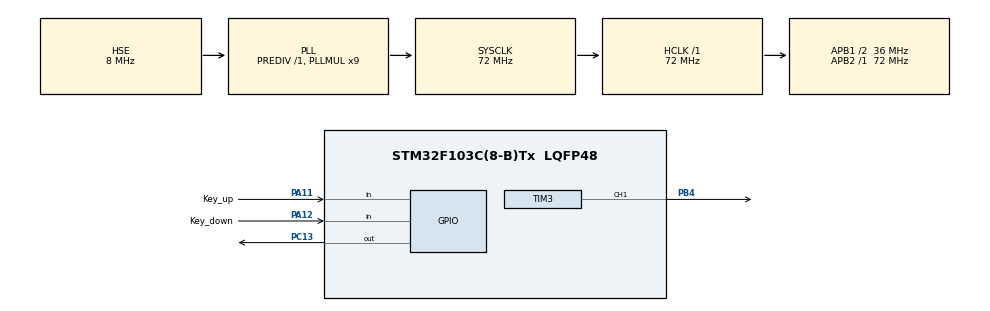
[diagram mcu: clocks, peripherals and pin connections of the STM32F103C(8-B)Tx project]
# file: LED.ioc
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Mcu.Family=STM32F1
Mcu.Name=STM32F103C(8-B)Tx
Mcu.Package=LQFP48
NVIC.PriorityGroup=NVIC_PRIORITYGROUP_4
PA11.GPIO_Label=Key_up
PA11.GPIO_PuPd=GPIO_PULLUP
PA11.Signal=GPIO_Input
PA12.GPIO_Label=Key_down
PA12.GPIO_PuPd=GPIO_PULLUP
PA12.Signal=GPIO_Input
PA13.Mode=Serial_Wire
PA13.Signal=SYS_JTMS-SWDIO
PA14.Mode=Serial_Wire
PA14.Signal=SYS_JTCK-SWCLK
PB4.GPIO_ModeDefaultPP=GPIO_MODE_AF_OD
PB4.GPIO_Speed=GPIO_SPEED_FREQ_HIGH
PB4.Signal=S_TIM3_CH1
PC13-TAMPER-RTC.GPIO_Speed=GPIO_SPEED_FREQ_HIGH
PC13-TAMPER-RTC.Signal=GPIO_Output
PC14-OSC32_IN.Mode=LSE-External-Oscillator
PC14-OSC32_IN.Signal=RCC_OSC32_IN
PC15-OSC32_OUT.Mode=LSE-External-Oscillator
PC15-OSC32_OUT.Signal=RCC_OSC32_OUT
PD0-OSC_IN.Mode=HSE-External-Oscillator
PD0-OSC_IN.Signal=RCC_OSC_IN
PD1-OSC_OUT.Mode=HSE-External-Oscillator
PD1-OSC_OUT.Signal=RCC_OSC_OUT
ProjectManager.HeapSize=0x200
ProjectManager.StackSize=0x400
ProjectManager.TargetToolchain=CMake
RCC.AHBFreq_Value=72000000
RCC.APB1CLKDivider=RCC_HCLK_DIV2
RCC.APB1Freq_Value=36000000
RCC.APB1TimFreq_Value=72000000
RCC.APB2Freq_Value=72000000
RCC.APB2TimFreq_Value=72000000
RCC.HCLKFreq_Value=72000000
RCC.PLLMUL=RCC_PLL_MUL9
RCC.PLLSourceVirtual=RCC_PLLSOURCE_HSE
RCC.SYSCLKFreq_VALUE=72000000
RCC.SYSCLKSource=RCC_SYSCLKSOURCE_PLLCLK
RCC.USBFreq_Value=72000000
SH.S_TIM3_CH1.0=TIM3_CH1,PWM Generation1 CH1
TIM3.Channel-PWM\ Generation1\ CH1=TIM_CHANNEL_1
TIM3.Period=90-1
VP_TIM3_VS_ClockSourceINT.Mode=Internal
board=custom

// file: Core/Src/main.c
/* USER CODE BEGIN Header */
/**
  ******************************************************************************
  * @file           : main.c
  * @brief          : Main program body
  ******************************************************************************
  * @attention
  *
  * Copyright (c) 2025 STMicroelectronics.
  * All rights reserved.
  *
  * This software is licensed under terms that can be found in the LICENSE file
  * in the root directory of this software component.
  * If no LICENSE file comes with this software, it is provided AS-IS.
  *
  ******************************************************************************
  */
/* USER CODE END Header */
#include "main.h"
#include "dma.h"
#include "stm32f1xx_hal.h"
#include "stm32f1xx_hal_gpio.h"
#include "tim.h"
#include "gpio.h"

/* USER CODE BEGIN Includes */
#include "WS2812.h"
#include <stdint.h>
/* USER CODE END Includes */

void SystemClock_Config(void);

int main(void)
{

  /* MCU Configuration--------------------------------------------------------*/

  /* Reset of all peripherals, Initializes the Flash interface and the Systick. */
  HAL_Init();

  /* Configure the system clock */
  SystemClock_Config();

  /* Initialize all configured peripherals */
  MX_GPIO_Init();
  MX_DMA_Init();
  MX_TIM3_Init();
  /* Ensure WS2812 initialized after TIM/DMA/GPIO are ready */
  ws2812_Init();
  /* USER CODE BEGIN 2 */

  /* Application state */
  float white_brightness = 0.0f; /* 0.0 .. 1.0 */
  uint8_t mode_flag = 0;         /* 0 = white, 1 = rainbow, 2 = running */

  /* Button debounce / repeat state */
  uint8_t up_held = 0, down_held = 0;
  uint32_t last_debounce_up = 0, last_debounce_down = 0;
  uint32_t last_repeat_up = 0, last_repeat_down = 0;
  uint8_t sim_pressed = 0;

  /* Double click detection for Key_down */
  uint32_t last_down_release = 0;
  uint8_t first_click_detected = 0;

  /* Double click detection for Key_up */
  uint32_t last_up_release = 0;
  uint8_t first_up_click_detected = 0;

  const uint32_t DOUBLE_CLICK_TIME = 300; /* Max interval for double click */

  /* Rainbow incremental state */
  int rainbow_phase = 0;
  uint32_t last_rainbow_tick = HAL_GetTick();
  const uint32_t RAINBOW_PERIOD_MS = 50; /* frame period for rainbow */
  uint32_t running_light_speed = 150;    /* frame period for running light (slower) */
  const uint32_t DEBOUNCE_MS = 50;
  const uint32_t REPEAT_INITIAL_MS = 300;
  const uint32_t REPEAT_INTERVAL_MS = 100;

  /* USER CODE END 2 */

  /* Infinite loop */
  /* USER CODE BEGIN WHILE */
  while (1)
  {
    uint32_t now = HAL_GetTick();
    uint8_t up = HAL_GPIO_ReadPin(Key_up_GPIO_Port, Key_up_Pin);
    uint8_t down = HAL_GPIO_ReadPin(Key_down_GPIO_Port, Key_down_Pin);

    /* Simultaneous press: toggle mode on press (active low) */
    if (up == GPIO_PIN_RESET && down == GPIO_PIN_RESET)
    {
      if (!sim_pressed)
      {
        sim_pressed = 1;
        mode_flag = (mode_flag + 1) % 3;
        /* immediate refresh on mode switch */
        if (mode_flag == 0)
        {
          ws2812_set_all_white(white_brightness);
        }
        else
        {
          rainbow_phase = 0;
        }
        /* Reset double click states to prevent conflict */
        first_up_click_detected = 0;
        first_click_detected = 0;
      }
    }
    else
    {
      sim_pressed = 0;

      /* UP button handling (active low) */
      if (up == GPIO_PIN_RESET)
      {
        if (!up_held && (now - last_debounce_up) > DEBOUNCE_MS)
        {
          up_held = 1;
          last_repeat_up = now;

          /* Check for double click */
          if (first_up_click_detected && (now - last_up_release) <= DOUBLE_CLICK_TIME)
          {
            /* Double click detected - Max Brightness */
            white_brightness = 1.0f;
            if (mode_flag == 0) ws2812_set_all_white(white_brightness);
            first_up_click_detected = 0; /* Reset double click state */
          }
          else
          {
            /* Normal single click action */
            white_brightness += 0.05f;
            if (white_brightness > 1.0f) white_brightness = 1.0f;
            if (mode_flag == 0) ws2812_set_all_white(white_brightness);
          }
        }
        else if (up_held && (now - last_repeat_up) > REPEAT_INITIAL_MS)
        {
          /* auto-repeat while held */
          first_up_click_detected = 0; /* Cancel double click if held */
          white_brightness += 0.05f;
          if (white_brightness > 1.0f) white_brightness = 1.0f;
          if (mode_flag == 0) ws2812_set_all_white(white_brightness);
          last_repeat_up = now - (REPEAT_INITIAL_MS - REPEAT_INTERVAL_MS);
        }
      }
      else
      {
        if (up_held)
        {
          /* Button was just released */
          if (!first_up_click_detected)
          {
            first_up_click_detected = 1;
            last_up_release = now;
          }
        }

        /* Timeout check for double click */
        if (first_up_click_detected && (now - last_up_release) > DOUBLE_CLICK_TIME)
        {
          first_up_click_detected = 0;
        }

        up_held = 0;
        last_debounce_up = now;
      }

      /* DOWN button handling (active low) */
      if (down == GPIO_PIN_RESET)
      {
        if (!down_held && (now - last_debounce_down) > DEBOUNCE_MS)
        {
          down_held = 1;
          last_repeat_down = now;

          /* Check for double click */
          if (first_click_detected && (now - last_down_release) <= DOUBLE_CLICK_TIME)
          {
            /* Double click detected - turn off all LEDs */
            white_brightness = 0.0f;
            if (mode_flag == 0)
            {
              ws2812_set_all_white(white_brightness);
            }
            else
            {
              /* Turn off all LEDs in rainbow/running mode */
              for (uint8_t i = 0; i < WS2812_NUM; i++)
              {
                ws2812_set_rgb(i, 0, 0, 0);
              }
              ws2812_update();
              ws2812_wait_dma(100);
            }
            first_click_detected = 0; /* Reset double click state */
          }
          else
          {
            /* Normal single click action */
            white_brightness -= 0.05f;
            if (white_brightness < 0.0f) white_brightness = 0.0f;
            if (mode_flag == 0) ws2812_set_all_white(white_brightness);
          }
        }
        else if (down_held && (now - last_repeat_down) > REPEAT_INITIAL_MS)
        {
          /* Reset double click detection when button is held */
          first_click_detected = 0;

          white_brightness -= 0.05f;
          if (white_brightness < 0.0f) white_brightness = 0.0f;
          if (mode_flag == 0) ws2812_set_all_white(white_brightness);
          last_repeat_down = now - (REPEAT_INITIAL_MS - REPEAT_INTERVAL_MS);
        }
      }
      else
      {
        if (down_held)
        {
          /* Button was just released */
          if (!first_click_detected)
          {
            first_click_detected = 1;
            last_down_release = now;
          }
        }

        /* Timeout check */
        if (first_click_detected && (now - last_down_release) > DOUBLE_CLICK_TIME)
        {
          first_click_detected = 0;
        }

        down_held = 0;
        last_debounce_down = now;
      }
    }

    /* Rainbow incremental update (non-blocking) */
    if (mode_flag == 1)
    {
      if ((now - last_rainbow_tick) >= RAINBOW_PERIOD_MS)
      {
        float frequency = 0.1f;
        int center = 128;
        int width = 127;
        for (uint8_t led_id = 0; led_id < WS2812_NUM; led_id++)
        {
          uint32_t color = rainbow_color(frequency, rainbow_phase + led_id * 2, center, width);
          uint8_t r, g, b;
          color_to_rgb(color, &r, &g, &b);
          /* apply brightness scaling */
          r = (uint8_t)((float)r * white_brightness);
          g = (uint8_t)((float)g * white_brightness);
          b = (uint8_t)((float)b * white_brightness);
          ws2812_set_rgb(led_id, r, g, b);
        }
        ws2812_update();
        ws2812_wait_dma(100);
        rainbow_phase++;
        last_rainbow_tick = now;
      }
    }
    else if (mode_flag == 2)
    {
      if ((now - last_rainbow_tick) >= running_light_speed)
      {
        ws2812_running_rainbow_cycle(rainbow_phase, white_brightness);
        rainbow_phase++;
        last_rainbow_tick = now;
      }
    }

    /* Small sleep to avoid busy loop */
    HAL_Delay(10);
  }
  /* USER CODE END 3 */
}

void SystemClock_Config(void)
{
  RCC_OscInitTypeDef RCC_OscInitStruct = {0};
  RCC_ClkInitTypeDef RCC_ClkInitStruct = {0};

  /** Initializes the RCC Oscillators according to the specified parameters
  * in the RCC_OscInitTypeDef structure.
  */
  RCC_OscInitStruct.OscillatorType = RCC_OSCILLATORTYPE_HSE;
  RCC_OscInitStruct.HSEState = RCC_HSE_ON;
  RCC_OscInitStruct.HSEPredivValue = RCC_HSE_PREDIV_DIV1;
  RCC_OscInitStruct.HSIState = RCC_HSI_ON;
  RCC_OscInitStruct.PLL.PLLState = RCC_PLL_ON;
  RCC_OscInitStruct.PLL.PLLSource = RCC_PLLSOURCE_HSE;
  RCC_OscInitStruct.PLL.PLLMUL = RCC_PLL_MUL9;
  if (HAL_RCC_OscConfig(&RCC_OscInitStruct) != HAL_OK)
  {
    Error_Handler();
  }

  /** Initializes the CPU, AHB and APB buses clocks
  */
  RCC_ClkInitStruct.ClockType = RCC_CLOCKTYPE_HCLK|RCC_CLOCKTYPE_SYSCLK
                              |RCC_CLOCKTYPE_PCLK1|RCC_CLOCKTYPE_PCLK2;
  RCC_ClkInitStruct.SYSCLKSource = RCC_SYSCLKSOURCE_PLLCLK;
  RCC_ClkInitStruct.AHBCLKDivider = RCC_SYSCLK_DIV1;
  RCC_ClkInitStruct.APB1CLKDivider = RCC_HCLK_DIV2;
  RCC_ClkInitStruct.APB2CLKDivider = RCC_HCLK_DIV1;

  if (HAL_RCC_ClockConfig(&RCC_ClkInitStruct, FLASH_LATENCY_2) != HAL_OK)
  {
    Error_Handler();
  }
}

void Error_Handler(void)
{
  __disable_irq();
  while (1)
  {
  }
}
